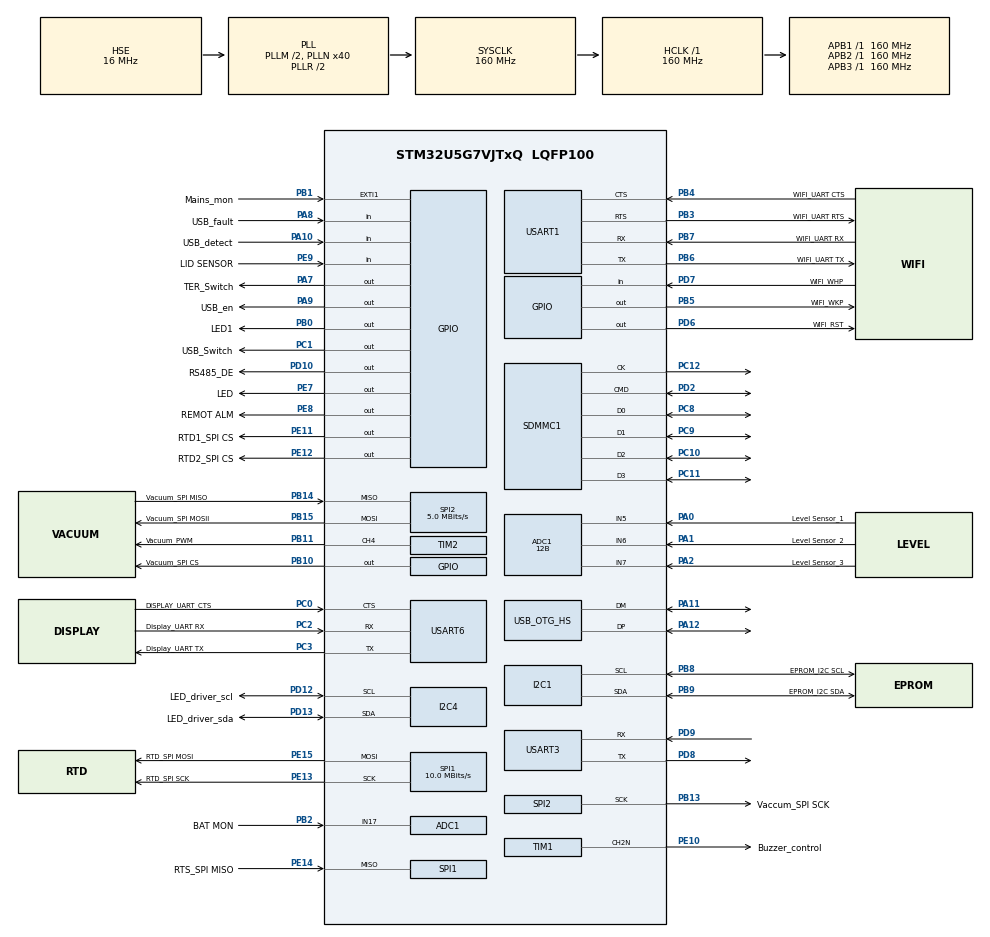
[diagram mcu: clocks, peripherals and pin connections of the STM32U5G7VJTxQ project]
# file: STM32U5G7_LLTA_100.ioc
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ADC1.Channel-0\#ChannelRegularConversion=ADC_CHANNEL_5
ADC1.Channel-1\#ChannelRegularConversion=ADC_CHANNEL_6
ADC1.Channel-2\#ChannelRegularConversion=ADC_CHANNEL_7
ADC1.Channel-3\#ChannelRegularConversion=ADC_CHANNEL_17
ADC1.Channel-4\#ChannelRegularConversion=ADC_CHANNEL_VREFINT
ADC1.ClockPrescaler=ADC_CLOCK_ASYNC_DIV4
ADC1.ContinuousConvMode=DISABLE
ADC1.DiscontinuousConvMode=ENABLE
ADC1.MonitoredBy-0\#ChannelRegularConversion=__NULL
ADC1.MonitoredBy-1\#ChannelRegularConversion=__NULL
ADC1.MonitoredBy-2\#ChannelRegularConversion=__NULL
ADC1.MonitoredBy-3\#ChannelRegularConversion=__NULL
ADC1.MonitoredBy-4\#ChannelRegularConversion=__NULL
ADC1.NbrOfConversion=5
ADC1.NbrOfConversionFlag=1
ADC1.OffsetNumber-0\#ChannelRegularConversion=ADC_OFFSET_NONE
ADC1.OffsetNumber-1\#ChannelRegularConversion=ADC_OFFSET_NONE
ADC1.OffsetNumber-2\#ChannelRegularConversion=ADC_OFFSET_NONE
ADC1.OffsetNumber-3\#ChannelRegularConversion=ADC_OFFSET_NONE
ADC1.OffsetNumber-4\#ChannelRegularConversion=ADC_OFFSET_NONE
ADC1.Rank-0\#ChannelRegularConversion=1
ADC1.Rank-1\#ChannelRegularConversion=2
ADC1.Rank-2\#ChannelRegularConversion=3
ADC1.Rank-3\#ChannelRegularConversion=4
ADC1.Rank-4\#ChannelRegularConversion=5
ADC1.Resolution=ADC_RESOLUTION_12B
ADC1.SamplingTime-0\#ChannelRegularConversion=ADC_SAMPLETIME_20CYCLES
ADC1.SamplingTime-1\#ChannelRegularConversion=ADC_SAMPLETIME_20CYCLES
ADC1.SamplingTime-2\#ChannelRegularConversion=ADC_SAMPLETIME_20CYCLES
ADC1.SamplingTime-3\#ChannelRegularConversion=ADC_SAMPLETIME_20CYCLES
ADC1.SamplingTime-4\#ChannelRegularConversion=ADC_SAMPLETIME_20CYCLES
ADC1.master=1
CORTEX_M33_NS.userName=CORTEX_M33
FILEX.FILEX_APPLICATION_THREAD_STACK_SIZE=1024*2
FILEX.FX_APP_MEM_POOL_SIZE=1024*4
FILEX.FX_MMC_INTERFACE=1
FILEX.useRTOS=1
GPDMA1.BLKHWREQUEST_GPDMACH0-SIMPLEREQUEST_GPDMACH0=DMA_BREQ_BLOCK
GPDMA1.CIRCULARMODE_GPDMACH0=ENABLE
GPDMA1.CIRCULARMODE_GPDMACH1=DISABLE
GPDMA1.CIRCULARMODE_GPDMACH2=ENABLE
GPDMA1.DESTINC_GPDMACH0=DMA_DINC_INCREMENTED
GPDMA1.DESTINC_GPDMACH2=DMA_DINC_INCREMENTED
GPDMA1.DIRECTION_GPDMACH1=DMA_MEMORY_TO_PERIPH
GPDMA1.DIRECTION_GPDMACH3=DMA_MEMORY_TO_PERIPH
GPDMA1.IPHANDLE_GPDMACH0-SIMPLEREQUEST_GPDMACH0=__NULL
GPDMA1.IPHANDLE_GPDMACH1-SIMPLEREQUEST_GPDMACH1=__NULL
GPDMA1.IPHANDLE_GPDMACH2-SIMPLEREQUEST_GPDMACH2=__NULL
GPDMA1.IPHANDLE_GPDMACH3-SIMPLEREQUEST_GPDMACH3=__NULL
GPDMA1.PRIORITY_LL_CIRCULAR_GPDMACH0=DMA_LOW_PRIORITY_HIGH_WEIGHT
GPDMA1.PRIORITY_LL_CIRCULAR_GPDMACH2=DMA_HIGH_PRIORITY
GPDMA1.REQUEST_GPDMACH0=GPDMA1_REQUEST_USART6_RX
GPDMA1.REQUEST_GPDMACH1=GPDMA1_REQUEST_USART6_TX
GPDMA1.REQUEST_GPDMACH2=GPDMA1_REQUEST_USART3_RX
GPDMA1.REQUEST_GPDMACH3=GPDMA1_REQUEST_USART3_TX
GPDMA1.SRCINC_GPDMACH1=DMA_SINC_INCREMENTED
GPDMA1.SRCINC_GPDMACH3=DMA_SINC_INCREMENTED
GPDMA1.TRANSFERALLOCATEDPORTDEST_GPDMACH0=DMA_DEST_ALLOCATED_PORT1
GPDMA1.TRANSFERALLOCATEDPORTSRC_GPDMACH1=DMA_SRC_ALLOCATED_PORT1
GPDMA1.TRANSFERALLOCATEDPORTSRC_GPDMACH3=DMA_SRC_ALLOCATED_PORT1
I2C1.I2C_Rise_Time=100
I2C1.Timing=0x30D09DE8
I2C4.I2C_Fall_Time=100
I2C4.I2C_Rise_Time=100
I2C4.Timing=0x30D29DE4
Mcu.Family=STM32U5
Mcu.Name=STM32U5G7VJTxQ
Mcu.Package=LQFP100
NVIC.ADC1_2_IRQn=true\:0\:0\:false\:false\:true\:false\:true\:true\:true
NVIC.EXTI1_IRQn=true\:0\:0\:false\:false\:true\:false\:true\:true\:true
NVIC.GPDMA1_Channel0_IRQn=true\:0\:0\:false\:false\:true\:true\:false\:true\:true
NVIC.GPDMA1_Channel1_IRQn=true\:0\:0\:false\:false\:true\:true\:true\:true\:true
NVIC.GPDMA1_Channel2_IRQn=true\:0\:0\:false\:false\:true\:true\:true\:true\:true
NVIC.GPDMA1_Channel3_IRQn=true\:0\:0\:false\:false\:true\:true\:false\:true\:true
NVIC.I2C1_ER_IRQn=true\:0\:0\:false\:false\:true\:false\:true\:true\:true
NVIC.I2C1_EV_IRQn=true\:0\:0\:false\:false\:true\:false\:true\:true\:true
NVIC.I2C4_ER_IRQn=true\:0\:0\:false\:false\:true\:false\:true\:true\:true
NVIC.I2C4_EV_IRQn=true\:0\:0\:false\:false\:true\:false\:true\:true\:true
NVIC.OTG_HS_IRQn=true\:0\:0\:false\:false\:true\:false\:true\:true\:true
NVIC.PriorityGroup=NVIC_PRIORITYGROUP_4
NVIC.RCC_IRQn=true\:0\:0\:false\:false\:true\:false\:true\:false\:true
NVIC.SDMMC1_IRQn=true\:0\:0\:false\:false\:true\:false\:true\:true\:true
NVIC.SPI1_IRQn=true\:0\:0\:false\:false\:true\:false\:true\:true\:true
NVIC.SPI2_IRQn=true\:0\:0\:false\:false\:true\:false\:true\:true\:true
NVIC.TIM1_BRK_IRQn=true\:0\:0\:false\:false\:true\:false\:true\:true\:true
NVIC.TIM1_CC_IRQn=true\:0\:0\:false\:false\:true\:false\:true\:true\:true
NVIC.TIM1_TRG_COM_IRQn=true\:0\:0\:false\:false\:true\:false\:true\:true\:true
NVIC.TIM2_IRQn=true\:0\:0\:false\:false\:true\:false\:true\:true\:true
NVIC.TIM5_IRQn=true\:15\:0\:false\:false\:true\:false\:false\:true\:true
NVIC.TIM6_IRQn=true\:0\:0\:false\:false\:true\:false\:true\:true\:true
NVIC.TIM7_IRQn=true\:0\:0\:false\:false\:true\:false\:true\:true\:true
NVIC.TimeBase=TIM5_IRQn
NVIC.TimeBaseIP=TIM5
NVIC.USART1_IRQn=true\:0\:0\:false\:false\:true\:false\:true\:true\:true
NVIC.USART3_IRQn=true\:0\:0\:false\:false\:true\:false\:true\:true\:true
NVIC.USART6_IRQn=true\:0\:0\:false\:false\:true\:false\:true\:true\:true
PA0.GPIO_Label=Level Sensor_1
PA0.Mode=IN5-Single-Ended
PA0.Signal=ADC1_IN5
PA1.GPIO_Label=Level Sensor_2
PA1.Mode=IN6-Single-Ended
PA1.Signal=ADC1_IN6
PA10.GPIO_Label=USB_detect
PA10.PinAttribute=Free
PA10.Signal=GPIO_Input
PA11.Mode=Internal_Phy_Device
PA11.PinAttribute=Free
PA11.Signal=USB_OTG_HS_DM
PA12.Mode=Internal_Phy_Device
PA12.PinAttribute=Free
PA12.Signal=USB_OTG_HS_DP
PA13\ (JTMS/SWDIO).Mode=Serial_Wire
PA13\ (JTMS/SWDIO).PinAttribute=Free
PA13\ (JTMS/SWDIO).Signal=DEBUG_JTMS-SWDIO
PA14\ (JTCK/SWCLK).Mode=Serial_Wire
PA14\ (JTCK/SWCLK).PinAttribute=Free
PA14\ (JTCK/SWCLK).Signal=DEBUG_JTCK-SWCLK
PA2.GPIO_Label=Level Sensor_3
PA2.Mode=IN7-Single-Ended
PA2.Signal=ADC1_IN7
PA7.GPIO_Label=TER_Switch
PA7.GPIO_PuPd=GPIO_PULLUP
PA7.GPIO_Speed=GPIO_SPEED_FREQ_VERY_HIGH
PA7.PinState=GPIO_PIN_SET
PA7.Signal=GPIO_Output
PA8.GPIO_Label=USB_fault
PA8.PinAttribute=Free
PA8.Signal=GPIO_Input
PA9.GPIO_Label=USB_en
PA9.GPIO_PuPd=GPIO_PULLDOWN
PA9.PinAttribute=Free
PA9.Signal=GPIO_Output
PB0.GPIO_Label=LED1
PB0.GPIO_PuPd=GPIO_PULLDOWN
PB0.Signal=GPIO_Output
PB1.GPIO_Label=Mains_mon
PB1.GPIO_ModeDefaultEXTI=GPIO_MODE_IT_RISING_FALLING
PB1.GPIO_PuPd=GPIO_PULLDOWN
PB1.Privilege=EXTI_LINE_NPRIV
PB1.Signal=GPXTI1
PB10.GPIO_Label=Vacuum_SPI CS
PB10.GPIO_PuPd=GPIO_PULLUP
PB10.GPIO_Speed=GPIO_SPEED_FREQ_HIGH
PB10.Signal=GPIO_Output
PB11.GPIO_Label=Vacuum_PWM
PB11.Signal=S_TIM2_CH4
PB13.GPIO_Label=Vaccum_SPI SCK
PB13.Mode=Full_Duplex_Master
PB13.Signal=SPI2_SCK
PB14.GPIO_Label=Vacuum_SPI MISO
PB14.Mode=Full_Duplex_Master
PB14.Signal=SPI2_MISO
PB15.GPIO_Label=Vacuum_SPI MOSII
PB15.Mode=Full_Duplex_Master
PB15.PinAttribute=Free
PB15.Signal=SPI2_MOSI
PB2.GPIO_Label=BAT MON
PB2.Mode=IN17-Single-Ended
PB2.Signal=ADC1_IN17
PB3\ (JTDO/TRACESWO).GPIO_Label=WIFI_UART RTS
PB3\ (JTDO/TRACESWO).Mode=CTS_RTS
PB3\ (JTDO/TRACESWO).PinAttribute=Free
PB3\ (JTDO/TRACESWO).Signal=USART1_RTS
PB4\ (NJTRST).GPIO_Label=WIFI_UART CTS
PB4\ (NJTRST).Mode=CTS_RTS
PB4\ (NJTRST).Signal=USART1_CTS
PB5.GPIO_Label=WIFI_WKP
PB5.Signal=GPIO_Output
PB6.GPIO_Label=WIFI_UART TX
PB6.Mode=Asynchronous
PB6.Signal=USART1_TX
PB7.GPIO_Label=WIFI_UART RX
PB7.Mode=Asynchronous
PB7.Signal=USART1_RX
PB8.GPIO_Label=EPROM_I2C SCL
PB8.GPIO_Pu=GPIO_PULLUP
PB8.GPIO_Speed=GPIO_SPEED_FREQ_VERY_HIGH
PB8.Mode=I2C
PB8.Signal=I2C1_SCL
PB9.GPIO_Label=EPROM_I2C SDA
PB9.GPIO_Pu=GPIO_PULLUP
PB9.GPIO_Speed=GPIO_SPEED_FREQ_VERY_HIGH
PB9.Mode=I2C
PB9.Signal=I2C1_SDA
PC0.GPIO_Label=DISPLAY_UART_CTS
PC0.Mode=CTS_Only
PC0.Signal=USART6_CTS
PC1.GPIO_Label=USB_Switch
PC1.GPIO_PuPd=GPIO_PULLDOWN
PC1.Signal=GPIO_Output
PC10.Mode=mmc_4_bits_Wide_bus
PC10.PinAttribute=Free
PC10.Signal=SDMMC1_D2
PC11.Mode=mmc_4_bits_Wide_bus
PC11.PinAttribute=Free
PC11.Signal=SDMMC1_D3
PC12.Mode=mmc_4_bits_Wide_bus
PC12.PinAttribute=Free
PC12.Signal=SDMMC1_CK
PC14-OSC32_IN\ (PC14).Mode=LSE-External-Oscillator
PC14-OSC32_IN\ (PC14).Signal=RCC_OSC32_IN
PC15-OSC32_OUT\ (PC15).Mode=LSE-External-Oscillator
PC15-OSC32_OUT\ (PC15).Signal=RCC_OSC32_OUT
PC2.GPIO_Label=Display_UART RX
PC2.Mode=Asynchronous
PC2.Signal=USART6_RX
PC3.GPIO_Label=Display_UART TX
PC3.Mode=Asynchronous
PC3.Signal=USART6_TX
PC8.Mode=mmc_4_bits_Wide_bus
PC8.Signal=SDMMC1_D0
PC9.Mode=mmc_4_bits_Wide_bus
PC9.PinAttribute=Free
PC9.Signal=SDMMC1_D1
PD10.GPIO_Label=RS485_DE
PD10.PinAttribute=Free
PD10.Signal=GPIO_Output
PD12.GPIO_Label=LED_driver_scl
PD12.GPIO_Pu=GPIO_PULLUP
PD12.GPIO_Speed=GPIO_SPEED_FREQ_VERY_HIGH
PD12.Mode=I2C
PD12.PinAttribute=Free
PD12.Signal=I2C4_SCL
PD13.GPIO_Label=LED_driver_sda
PD13.GPIO_Pu=GPIO_PULLUP
PD13.GPIO_Speed=GPIO_SPEED_FREQ_VERY_HIGH
PD13.Mode=I2C
PD13.Signal=I2C4_SDA
PD2.Mode=mmc_4_bits_Wide_bus
PD2.PinAttribute=Free
PD2.Signal=SDMMC1_CMD
PD6.GPIO_Label=WIFI_RST
PD6.PinAttribute=Free
PD6.Signal=GPIO_Output
PD7.GPIO_Label=WIFI_WHP
PD7.PinAttribute=Free
PD7.Signal=GPIO_Input
PD8.Mode=Asynchronous
PD8.PinAttribute=Free
PD8.Signal=USART3_TX
PD9.Mode=Asynchronous
PD9.PinAttribute=Free
PD9.Signal=USART3_RX
PE10.GPIO_Label=Buzzer_control
PE10.Mode=PWM Generation2 CH2N
PE10.Signal=TIM1_CH2N
PE11.GPIO_Label=RTD1_SPI CS 
PE11.GPIO_PuPd=GPIO_PULLUP
PE11.GPIO_Speed=GPIO_SPEED_FREQ_HIGH
PE11.PinState=GPIO_PIN_SET
PE11.Signal=GPIO_Output
PE12.GPIO_Label=RTD2_SPI CS
PE12.GPIO_PuPd=GPIO_PULLUP
PE12.GPIO_Speed=GPIO_SPEED_FREQ_HIGH
PE12.PinState=GPIO_PIN_SET
PE12.Signal=GPIO_Output
PE13.GPIO_Label=RTD_SPI SCK
PE13.Mode=Full_Duplex_Master
PE13.Signal=SPI1_SCK
PE14.GPIO_Label=RTS_SPI MISO
PE14.Mode=Full_Duplex_Master
PE14.Signal=SPI1_MISO
PE15.GPIO_Label=RTD_SPI MOSI
PE15.Mode=Full_Duplex_Master
PE15.Signal=SPI1_MOSI
PE7.GPIO_Label=LED
PE7.GPIO_ModeDefaultOutputPP=GPIO_MODE_OUTPUT_PP
PE7.GPIO_PuPd=GPIO_PULLDOWN
PE7.Signal=GPIO_Output
PE8.GPIO_Label=REMOT ALM
PE8.GPIO_PuPd=GPIO_PULLUP
PE8.GPIO_Speed=GPIO_SPEED_FREQ_VERY_HIGH
PE8.PinState=GPIO_PIN_SET
PE8.Signal=GPIO_Output
PE9.GPIO_Label=LID SENSOR
PE9.Signal=GPIO_Input
PH0-OSC_IN\ (PH0).Mode=HSE-External-Oscillator
PH0-OSC_IN\ (PH0).Signal=RCC_OSC_IN
PH1-OSC_OUT\ (PH1).Mode=HSE-External-Oscillator
PH1-OSC_OUT\ (PH1).Signal=RCC_OSC_OUT
ProjectManager.HeapSize=0x200
ProjectManager.StackSize=0x400
ProjectManager.TargetToolchain=STM32CubeIDE
RCC.ADCCLockSelection=RCC_ADCDACCLKSOURCE_HCLK
RCC.ADCFreq_Value=160000000
RCC.AHBFreq_Value=160000000
RCC.APB1Freq_Value=160000000
RCC.APB1TimFreq_Value=160000000
RCC.APB2Freq_Value=160000000
RCC.APB2TimFreq_Value=160000000
RCC.APB3Freq_Value=160000000
RCC.CortexFreq_Value=160000000
RCC.EPOD_VALUE=16000000
RCC.HCLKFreq_Value=160000000
RCC.HSE_VALUE=16000000
RCC.HSI48_VALUE=48000000
RCC.HSI_VALUE=16000000
RCC.LSIDIV_VALUE=32000
RCC.MSI_VALUE=4000000
RCC.PLL1P=5
RCC.PLL2FRACN=0
RCC.PLL3FRACN=0
RCC.PLLFRACN=0
RCC.PLLM=2
RCC.PLLN=40
RCC.PLLSourceVirtual=RCC_PLLSOURCE_HSE
RCC.RTCClockSelection=RCC_RTCCLKSOURCE_LSE
RCC.SYSCLKFreq_VALUE=160000000
RCC.SYSCLKSource=RCC_SYSCLKSOURCE_PLLCLK
RCC.USBPHYCLockSelection=RCC_USBPHYCLKSOURCE_PLL1_DIV2
RCC.VCOOutputFreq_Value=320000000
RTC.BinMode=RTC_BINARY_NONE
RTC.HourFormat=RTC_HOURFORMAT_12
SDMMC1.ClockDiv=2
SDMMC1.ClockPowerSave=SDMMC_CLOCK_POWER_SAVE_ENABLE
SDMMC1.HardwareFlowControl=SDMMC_HARDWARE_FLOW_CONTROL_ENABLE
SH.S_TIM2_CH4.0=TIM2_CH4,PWM Generation4 CH4
SPI1.BaudRatePrescaler=SPI_BAUDRATEPRESCALER_16
SPI1.CLKPhase=SPI_PHASE_2EDGE
SPI1.CalculateBaudRate=10.0 MBits/s
SPI1.DataSize=SPI_DATASIZE_8BIT
SPI1.Direction=SPI_DIRECTION_2LINES
SPI1.Mode=SPI_MODE_MASTER
SPI1.VirtualType=VM_MASTER
SPI2.BaudRatePrescaler=SPI_BAUDRATEPRESCALER_32
SPI2.CalculateBaudRate=5.0 MBits/s
SPI2.DataSize=SPI_DATASIZE_8BIT
SPI2.Direction=SPI_DIRECTION_2LINES
SPI2.Mode=SPI_MODE_MASTER
SPI2.VirtualType=VM_MASTER
THREADX.AZRTOS_APP_MEM_ALLOCATION_METHOD=1
TIM1.Channel-PWM\ Generation2\ CH2N=TIM_CHANNEL_2
TIM1.PeriodNoDither=3702-1
TIM1.Prescaler=15
TIM1.PulseNoDither_2=1851
TIM2.Channel-PWM\ Generation4\ CH4=TIM_CHANNEL_4
TIM2.PeriodNoDither=1000-1
TIM2.Prescaler=159
TIM6.PeriodNoDither=9999
TIM6.Prescaler=16
TIM7.PeriodNoDither=9999
TIM7.Prescaler=16000
USART1.FIFOMode=FIFOMODE_ENABLE
USART1.VirtualMode-Asynchronous=VM_ASYNC
USART3.FIFOMode=FIFOMODE_ENABLE
USART3.VirtualMode-Asynchronous=VM_ASYNC
USART6.FIFOMode=FIFOMODE_ENABLE
USART6.VirtualMode-Asynchronous=VM_ASYNC
USBX.BSP.number=1
USBX.Core_System=1
USBX.USBD_CDCACM_EPINCMD_ADDR=3
USBX.USBD_CDCACM_EPIN_ADDR=4
USBX.USBD_CDCACM_EPOUT_ADDR=5
USBX.UX_DEVICE_CDC_ACM=1
USBX.UX_DEVICE_STORAGE=1
USBX.UX_Device_Controller=1
USBX.UX_Device_CoreStack=1
USBX0.BSP.STBoard=false
USBX0.BSP.api=Unknown
USBX0.BSP.instance=USB_OTG_HS
USBX0.BSP.ip=USB_OTG_HS
USBX0.BSP.mode=Device_Only
USBX0.BSP.name=USBDevice
USBX0.BSP.solution=USB_OTG_HS
USB_OTG_HS.RefClockSelection=SYSCFG_OTG_HS_PHY_CLK_SELECT_6
USB_OTG_HS.VirtualMode=Device_HS
VP_ADC1_Vref_Input.Mode=IN-Vrefint
VP_FILEX_VS_FileOoSystemJjFileXJjCore.Mode=FileX_Core
VP_FILEX_VS_MMCOointerface.Mode=MMC_interface
VP_GPDMA1_VS_GPDMACH0.Mode=SIMPLEREQUEST_GPDMACH0
VP_GPDMA1_VS_GPDMACH1.Mode=SIMPLEREQUEST_GPDMACH1
VP_GPDMA1_VS_GPDMACH2.Mode=SIMPLEREQUEST_GPDMACH2
VP_GPDMA1_VS_GPDMACH3.Mode=SIMPLEREQUEST_GPDMACH3
VP_ICACHE_VS_ENABLE_ICACHE_MEMORY.Mode=Memoryregions
VP_ICACHE_VS_ICACHE.Mode=DefaultMode
VP_LPBAMQUEUE_VS_QUEUE.Mode=QUEUEMODE
VP_LPBAM_VS_SIG1.Mode=SmartRun
VP_LPBAM_VS_SIG4.Mode=LPDMA1
VP_MEMORYMAP_VS_MEMORYMAP.Mode=CurAppReg
VP_PWR_VS_SECSignals.Mode=Security/Privilege
VP_PWR_Vdda.Mode=isolationVdda
VP_RTC_VS_RTC_Activate.Mode=RTC_Enabled
VP_RTC_VS_RTC_Calendar.Mode=RTC_Calendar
VP_SYS_VS_tim5.Mode=TIM5
VP_THREADX_VS_RTOSJjThreadXJjCoreJjDefault.Mode=Core_Default
VP_THREADX_VS_RTOSJjThreadXJjLow_Power_Support.Mode=Low_Power_Support
VP_THREADX_VS_RTOSJjThreadXJjPerformance_InfoJjDefault.Mode=Performance_Default
VP_THREADX_VS_RTOSJjThreadXJjTraceX_SupportJjDefault.Mode=TraceX_Support_Default
VP_TIM6_VS_ClockSourceINT.Mode=Enable_Timer
VP_TIM7_VS_ClockSourceINT.Mode=Enable_Timer
VP_USBX_Core_System.Mode=Core_System
VP_USBX_UX\ Device\ CDC\ ACM\ Class_HS.Mode=UX_Device_class_CDC_ACM_HS
VP_USBX_UX\ Device\ Controller_HS.Mode=UX_Device_Controller_HS
VP_USBX_UX\ Device\ CoreStack_HS.Mode=UX_Device_CoreStack_HS
VP_USBX_UX\ Device\ MSC_HS.Mode=UX_Device_class_MSC_HS
board=custom

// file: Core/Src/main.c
/* USER CODE BEGIN Header */
/**
  ******************************************************************************
  * @file           : main.c
  * @brief          : Main program body
  ******************************************************************************
  * @attention
  *
  * Copyright (c) 2025 STMicroelectronics.
  * All rights reserved.
  *
  * This software is licensed under terms that can be found in the LICENSE file
  * in the root directory of this software component.
  * If no LICENSE file comes with this software, it is provided AS-IS.
  *
  ******************************************************************************
  */
/* USER CODE END Header */
#include "app_threadx.h"
#include "main.h"

/* USER CODE BEGIN Includes */
#include "MyMain.h"
/* USER CODE END Includes */

ADC_HandleTypeDef hadc1;

I2C_HandleTypeDef hi2c1;
I2C_HandleTypeDef hi2c4;

RTC_HandleTypeDef hrtc;

MMC_HandleTypeDef hmmc1;

SPI_HandleTypeDef hspi1;
SPI_HandleTypeDef hspi2;

TIM_HandleTypeDef htim1;
TIM_HandleTypeDef htim2;
TIM_HandleTypeDef htim6;
TIM_HandleTypeDef htim7;

UART_HandleTypeDef huart1;
UART_HandleTypeDef huart3;
UART_HandleTypeDef huart6;
DMA_HandleTypeDef handle_GPDMA1_Channel3;
DMA_NodeTypeDef Node_GPDMA1_Channel2;
DMA_QListTypeDef List_GPDMA1_Channel2;
DMA_HandleTypeDef handle_GPDMA1_Channel2;
DMA_HandleTypeDef handle_GPDMA1_Channel1;
DMA_NodeTypeDef Node_GPDMA1_Channel0;
DMA_QListTypeDef List_GPDMA1_Channel0;
DMA_HandleTypeDef handle_GPDMA1_Channel0;

PCD_HandleTypeDef hpcd_USB_OTG_HS;

/* USER CODE BEGIN PV */
HCD_HandleTypeDef hhcd_USB_OTG_HS;
HAL_MMC_CardInfoTypeDef card_info;
/* USER CODE END PV */

void SystemClock_Config(void);
static void MX_GPIO_Init(void);
static void MX_GPDMA1_Init(void);
static void MX_ADC1_Init(void);
static void MX_I2C1_Init(void);
static void MX_SDMMC1_MMC_Init(void);
static void MX_SPI1_Init(void);
static void MX_SPI2_Init(void);
static void MX_USART1_UART_Init(void);
static void MX_USART3_UART_Init(void);
static void MX_USART6_UART_Init(void);
void MX_USB_OTG_HS_PCD_Init(void);
static void MX_TIM2_Init(void);
static void MX_RTC_Init(void);
static void MX_ICACHE_Init(void);
static void MX_I2C4_Init(void);
static void MX_TIM1_Init(void);
static void MX_TIM7_Init(void);
static void MX_TIM6_Init(void);
/* USER CODE BEGIN PFP */
void MX_USB_OTG_HS_HCD_Init(void);
/* USER CODE END PFP */

int main(void)
{

  /* MCU Configuration--------------------------------------------------------*/

  /* Reset of all peripherals, Initializes the Flash interface and the Systick. */
  HAL_Init();

  /* Configure the system clock */
  SystemClock_Config();

  /* Initialize all configured peripherals */
  MX_GPIO_Init();
  MX_GPDMA1_Init();
  MX_ADC1_Init();
  MX_I2C1_Init();
#ifdef EN_EMMC
  MX_SDMMC1_MMC_Init();
#endif
  MX_SPI1_Init();
  MX_SPI2_Init();
  MX_USART1_UART_Init();
  MX_USART3_UART_Init();
  MX_USART6_UART_Init();
#ifdef EN_EMMC
  MX_USB_OTG_HS_PCD_Init();
  MX_USB_OTG_HS_HCD_Init();
#endif
  MX_TIM2_Init();
  MX_RTC_Init();
  MX_ICACHE_Init();
  MX_I2C4_Init();
  MX_TIM1_Init();
  MX_TIM7_Init();
  MX_TIM6_Init();
  /* USER CODE BEGIN 2 */
  uint8_t status;
  status = HAL_MMC_GetCardInfo(&hmmc1, &card_info);

      if (status != HAL_OK)
      {
        Error_Handler();
      }
      my_init();
  /* USER CODE END 2 */

  MX_ThreadX_Init();

  /* We should never get here as control is now taken by the scheduler */

  /* Infinite loop */
  while (1)
  {

  }
}

void SystemClock_Config(void)
{
  RCC_OscInitTypeDef RCC_OscInitStruct = {0};
  RCC_ClkInitTypeDef RCC_ClkInitStruct = {0};

  /** Configure the main internal regulator output voltage
  */
  if (HAL_PWREx_ControlVoltageScaling(PWR_REGULATOR_VOLTAGE_SCALE1) != HAL_OK)
  {
    Error_Handler();
  }

  /** Configure LSE Drive Capability
  */
  HAL_PWR_EnableBkUpAccess();
  __HAL_RCC_LSEDRIVE_CONFIG(RCC_LSEDRIVE_LOW);

  /** Initializes the CPU, AHB and APB buses clocks
  */
  RCC_OscInitStruct.OscillatorType = RCC_OSCILLATORTYPE_HSE|RCC_OSCILLATORTYPE_LSE;
  RCC_OscInitStruct.HSEState = RCC_HSE_ON;
  RCC_OscInitStruct.LSEState = RCC_LSE_ON;
  RCC_OscInitStruct.PLL.PLLState = RCC_PLL_ON;
  RCC_OscInitStruct.PLL.PLLSource = RCC_PLLSOURCE_HSE;
  RCC_OscInitStruct.PLL.PLLMBOOST = RCC_PLLMBOOST_DIV1;
  RCC_OscInitStruct.PLL.PLLM = 2;
  RCC_OscInitStruct.PLL.PLLN = 40;
  RCC_OscInitStruct.PLL.PLLP = 5;
  RCC_OscInitStruct.PLL.PLLQ = 2;
  RCC_OscInitStruct.PLL.PLLR = 2;
  RCC_OscInitStruct.PLL.PLLRGE = RCC_PLLVCIRANGE_1;
  RCC_OscInitStruct.PLL.PLLFRACN = 0;
  if (HAL_RCC_OscConfig(&RCC_OscInitStruct) != HAL_OK)
  {
    Error_Handler();
  }

  /** Initializes the CPU, AHB and APB buses clocks
  */
  RCC_ClkInitStruct.ClockType = RCC_CLOCKTYPE_HCLK|RCC_CLOCKTYPE_SYSCLK
                              |RCC_CLOCKTYPE_PCLK1|RCC_CLOCKTYPE_PCLK2
                              |RCC_CLOCKTYPE_PCLK3;
  RCC_ClkInitStruct.SYSCLKSource = RCC_SYSCLKSOURCE_PLLCLK;
  RCC_ClkInitStruct.AHBCLKDivider = RCC_SYSCLK_DIV1;
  RCC_ClkInitStruct.APB1CLKDivider = RCC_HCLK_DIV1;
  RCC_ClkInitStruct.APB2CLKDivider = RCC_HCLK_DIV1;
  RCC_ClkInitStruct.APB3CLKDivider = RCC_HCLK_DIV1;

  if (HAL_RCC_ClockConfig(&RCC_ClkInitStruct, FLASH_LATENCY_4) != HAL_OK)
  {
    Error_Handler();
  }
}

static void MX_ADC1_Init(void)
{

  ADC_ChannelConfTypeDef sConfig = {0};

  /** Common config
  */
  hadc1.Instance = ADC1;
  hadc1.Init.ClockPrescaler = ADC_CLOCK_ASYNC_DIV4;
  hadc1.Init.Resolution = ADC_RESOLUTION_12B;
  hadc1.Init.GainCompensation = 0;
  hadc1.Init.DataAlign = ADC_DATAALIGN_RIGHT;
  hadc1.Init.ScanConvMode = ADC_SCAN_ENABLE;
  hadc1.Init.EOCSelection = ADC_EOC_SINGLE_CONV;
  hadc1.Init.LowPowerAutoWait = DISABLE;
  hadc1.Init.ContinuousConvMode = DISABLE;
  hadc1.Init.NbrOfConversion = 5;
  hadc1.Init.DiscontinuousConvMode = ENABLE;
  hadc1.Init.NbrOfDiscConversion = 1;
  hadc1.Init.ExternalTrigConv = ADC_SOFTWARE_START;
  hadc1.Init.ExternalTrigConvEdge = ADC_EXTERNALTRIGCONVEDGE_NONE;
  hadc1.Init.DMAContinuousRequests = DISABLE;
  hadc1.Init.TriggerFrequencyMode = ADC_TRIGGER_FREQ_HIGH;
  hadc1.Init.Overrun = ADC_OVR_DATA_PRESERVED;
  hadc1.Init.LeftBitShift = ADC_LEFTBITSHIFT_NONE;
  hadc1.Init.ConversionDataManagement = ADC_CONVERSIONDATA_DR;
  hadc1.Init.OversamplingMode = DISABLE;
  if (HAL_ADC_Init(&hadc1) != HAL_OK)
  {
    Error_Handler();
  }

  /** Configure Regular Channel
  */
  sConfig.Channel = ADC_CHANNEL_5;
  sConfig.Rank = ADC_REGULAR_RANK_1;
  sConfig.SamplingTime = ADC_SAMPLETIME_20CYCLES;
  sConfig.SingleDiff = ADC_SINGLE_ENDED;
  sConfig.OffsetNumber = ADC_OFFSET_NONE;
  sConfig.Offset = 0;
  if (HAL_ADC_ConfigChannel(&hadc1, &sConfig) != HAL_OK)
  {
    Error_Handler();
  }

  /** Configure Regular Channel
  */
  sConfig.Channel = ADC_CHANNEL_6;
  sConfig.Rank = ADC_REGULAR_RANK_2;
  if (HAL_ADC_ConfigChannel(&hadc1, &sConfig) != HAL_OK)
  {
    Error_Handler();
  }

  /** Configure Regular Channel
  */
  sConfig.Channel = ADC_CHANNEL_7;
  sConfig.Rank = ADC_REGULAR_RANK_3;
  if (HAL_ADC_ConfigChannel(&hadc1, &sConfig) != HAL_OK)
  {
    Error_Handler();
  }

  /** Configure Regular Channel
  */
  sConfig.Channel = ADC_CHANNEL_17;
  sConfig.Rank = ADC_REGULAR_RANK_4;
  if (HAL_ADC_ConfigChannel(&hadc1, &sConfig) != HAL_OK)
  {
    Error_Handler();
  }

  /** Configure Regular Channel
  */
  sConfig.Channel = ADC_CHANNEL_VREFINT;
  sConfig.Rank = ADC_REGULAR_RANK_5;
  if (HAL_ADC_ConfigChannel(&hadc1, &sConfig) != HAL_OK)
  {
    Error_Handler();
  }

}

static void MX_GPDMA1_Init(void)
{

  /* Peripheral clock enable */
  __HAL_RCC_GPDMA1_CLK_ENABLE();

  /* GPDMA1 interrupt Init */
    HAL_NVIC_SetPriority(GPDMA1_Channel0_IRQn, 0, 0);
    HAL_NVIC_EnableIRQ(GPDMA1_Channel0_IRQn);
    HAL_NVIC_SetPriority(GPDMA1_Channel1_IRQn, 0, 0);
    HAL_NVIC_EnableIRQ(GPDMA1_Channel1_IRQn);
    HAL_NVIC_SetPriority(GPDMA1_Channel2_IRQn, 0, 0);
    HAL_NVIC_EnableIRQ(GPDMA1_Channel2_IRQn);
    HAL_NVIC_SetPriority(GPDMA1_Channel3_IRQn, 0, 0);
    HAL_NVIC_EnableIRQ(GPDMA1_Channel3_IRQn);

}

static void MX_I2C1_Init(void)
{

  hi2c1.Instance = I2C1;
  hi2c1.Init.Timing = 0x30D09DE8;
  hi2c1.Init.OwnAddress1 = 0;
  hi2c1.Init.AddressingMode = I2C_ADDRESSINGMODE_7BIT;
  hi2c1.Init.DualAddressMode = I2C_DUALADDRESS_DISABLE;
  hi2c1.Init.OwnAddress2 = 0;
  hi2c1.Init.OwnAddress2Masks = I2C_OA2_NOMASK;
  hi2c1.Init.GeneralCallMode = I2C_GENERALCALL_DISABLE;
  hi2c1.Init.NoStretchMode = I2C_NOSTRETCH_DISABLE;
  if (HAL_I2C_Init(&hi2c1) != HAL_OK)
  {
    Error_Handler();
  }

  /** Configure Analogue filter
  */
  if (HAL_I2CEx_ConfigAnalogFilter(&hi2c1, I2C_ANALOGFILTER_ENABLE) != HAL_OK)
  {
    Error_Handler();
  }

  /** Configure Digital filter
  */
  if (HAL_I2CEx_ConfigDigitalFilter(&hi2c1, 0) != HAL_OK)
  {
    Error_Handler();
  }

}

static void MX_I2C4_Init(void)
{

  hi2c4.Instance = I2C4;
  hi2c4.Init.Timing = 0x30D29DE4;
  hi2c4.Init.OwnAddress1 = 0;
  hi2c4.Init.AddressingMode = I2C_ADDRESSINGMODE_7BIT;
  hi2c4.Init.DualAddressMode = I2C_DUALADDRESS_DISABLE;
  hi2c4.Init.OwnAddress2 = 0;
  hi2c4.Init.OwnAddress2Masks = I2C_OA2_NOMASK;
  hi2c4.Init.GeneralCallMode = I2C_GENERALCALL_DISABLE;
  hi2c4.Init.NoStretchMode = I2C_NOSTRETCH_DISABLE;
  if (HAL_I2C_Init(&hi2c4) != HAL_OK)
  {
    Error_Handler();
  }

  /** Configure Analogue filter
  */
  if (HAL_I2CEx_ConfigAnalogFilter(&hi2c4, I2C_ANALOGFILTER_ENABLE) != HAL_OK)
  {
    Error_Handler();
  }

  /** Configure Digital filter
  */
  if (HAL_I2CEx_ConfigDigitalFilter(&hi2c4, 0) != HAL_OK)
  {
    Error_Handler();
  }

}

static void MX_ICACHE_Init(void)
{

  /** Enable instruction cache (default 2-ways set associative cache)
  */
  if (HAL_ICACHE_Enable() != HAL_OK)
  {
    Error_Handler();
  }

}

static void MX_RTC_Init(void)
{

  RTC_PrivilegeStateTypeDef privilegeState = {0};
  RTC_TimeTypeDef sTime = {0};
  RTC_DateTypeDef sDate = {0};

  /** Initialize RTC Only
  */
  hrtc.Instance = RTC;
  hrtc.Init.HourFormat = RTC_HOURFORMAT_12;
  hrtc.Init.AsynchPrediv = 127;
  hrtc.Init.SynchPrediv = 255;
  hrtc.Init.OutPut = RTC_OUTPUT_DISABLE;
  hrtc.Init.OutPutRemap = RTC_OUTPUT_REMAP_NONE;
  hrtc.Init.OutPutPolarity = RTC_OUTPUT_POLARITY_HIGH;
  hrtc.Init.OutPutType = RTC_OUTPUT_TYPE_OPENDRAIN;
  hrtc.Init.OutPutPullUp = RTC_OUTPUT_PULLUP_NONE;
  hrtc.Init.BinMode = RTC_BINARY_NONE;
  if (HAL_RTC_Init(&hrtc) != HAL_OK)
  {
    Error_Handler();
  }
  privilegeState.rtcPrivilegeFull = RTC_PRIVILEGE_FULL_NO;
  privilegeState.backupRegisterPrivZone = RTC_PRIVILEGE_BKUP_ZONE_NONE;
  privilegeState.backupRegisterStartZone2 = RTC_BKP_DR0;
  privilegeState.backupRegisterStartZone3 = RTC_BKP_DR0;
  if (HAL_RTCEx_PrivilegeModeSet(&hrtc, &privilegeState) != HAL_OK)
  {
    Error_Handler();
  }

  /** Initialize RTC and set the Time and Date
  */
//  sTime.Hours = 0x1;
//  sTime.Minutes = 0x0;
//  sTime.Seconds = 0x0;
//  sTime.TimeFormat = RTC_HOURFORMAT12_AM;
//  sTime.DayLightSaving = RTC_DAYLIGHTSAVING_NONE;
//  sTime.StoreOperation = RTC_STOREOPERATION_RESET;
//  if (HAL_RTC_SetTime(&hrtc, &sTime, RTC_FORMAT_BCD) != HAL_OK)
//  {
//    Error_Handler();
//  }
//  sDate.WeekDay = RTC_WEEKDAY_MONDAY;
//  sDate.Month = RTC_MONTH_JANUARY;
//  sDate.Date = 0x1;
//  sDate.Year = 0x0;
//
//  if (HAL_RTC_SetDate(&hrtc, &sDate, RTC_FORMAT_BCD) != HAL_OK)
//  {
//    Error_Handler();
//  }

}

static void MX_SDMMC1_MMC_Init(void)
{

  hmmc1.Instance = SDMMC1;
  hmmc1.Init.ClockEdge = SDMMC_CLOCK_EDGE_RISING;
  hmmc1.Init.ClockPowerSave = SDMMC_CLOCK_POWER_SAVE_ENABLE;
  hmmc1.Init.BusWide = SDMMC_BUS_WIDE_4B;
  hmmc1.Init.HardwareFlowControl = SDMMC_HARDWARE_FLOW_CONTROL_ENABLE;
  hmmc1.Init.ClockDiv = 2;
  if (HAL_MMC_Init(&hmmc1) != HAL_OK)
  {
    Error_Handler();
  }

}

static void MX_SPI1_Init(void)
{

  SPI_AutonomousModeConfTypeDef HAL_SPI_AutonomousMode_Cfg_Struct = {0};

  /* SPI1 parameter configuration*/
  hspi1.Instance = SPI1;
  hspi1.Init.Mode = SPI_MODE_MASTER;
  hspi1.Init.Direction = SPI_DIRECTION_2LINES;
  hspi1.Init.DataSize = SPI_DATASIZE_8BIT;
  hspi1.Init.CLKPolarity = SPI_POLARITY_LOW;
  hspi1.Init.CLKPhase = SPI_PHASE_2EDGE;
  hspi1.Init.NSS = SPI_NSS_SOFT;
  hspi1.Init.BaudRatePrescaler = SPI_BAUDRATEPRESCALER_16;
  hspi1.Init.FirstBit = SPI_FIRSTBIT_MSB;
  hspi1.Init.TIMode = SPI_TIMODE_DISABLE;
  hspi1.Init.CRCCalculation = SPI_CRCCALCULATION_DISABLE;
  hspi1.Init.CRCPolynomial = 0x7;
  hspi1.Init.NSSPMode = SPI_NSS_PULSE_ENABLE;
  hspi1.Init.NSSPolarity = SPI_NSS_POLARITY_LOW;
  hspi1.Init.FifoThreshold = SPI_FIFO_THRESHOLD_01DATA;
  hspi1.Init.MasterSSIdleness = SPI_MASTER_SS_IDLENESS_00CYCLE;
  hspi1.Init.MasterInterDataIdleness = SPI_MASTER_INTERDATA_IDLENESS_00CYCLE;
  hspi1.Init.MasterReceiverAutoSusp = SPI_MASTER_RX_AUTOSUSP_DISABLE;
  hspi1.Init.MasterKeepIOState = SPI_MASTER_KEEP_IO_STATE_DISABLE;
  hspi1.Init.IOSwap = SPI_IO_SWAP_DISABLE;
  hspi1.Init.ReadyMasterManagement = SPI_RDY_MASTER_MANAGEMENT_INTERNALLY;
  hspi1.Init.ReadyPolarity = SPI_RDY_POLARITY_HIGH;
  if (HAL_SPI_Init(&hspi1) != HAL_OK)
  {
    Error_Handler();
  }
  HAL_SPI_AutonomousMode_Cfg_Struct.TriggerState = SPI_AUTO_MODE_DISABLE;
  HAL_SPI_AutonomousMode_Cfg_Struct.TriggerSelection = SPI_GRP1_GPDMA_CH0_TCF_TRG;
  HAL_SPI_AutonomousMode_Cfg_Struct.TriggerPolarity = SPI_TRIG_POLARITY_RISING;
  if (HAL_SPIEx_SetConfigAutonomousMode(&hspi1, &HAL_SPI_AutonomousMode_Cfg_Struct) != HAL_OK)
  {
    Error_Handler();
  }

}

static void MX_SPI2_Init(void)
{

  SPI_AutonomousModeConfTypeDef HAL_SPI_AutonomousMode_Cfg_Struct = {0};

  /* SPI2 parameter configuration*/
  hspi2.Instance = SPI2;
  hspi2.Init.Mode = SPI_MODE_MASTER;
  hspi2.Init.Direction = SPI_DIRECTION_2LINES;
  hspi2.Init.DataSize = SPI_DATASIZE_8BIT;
  hspi2.Init.CLKPolarity = SPI_POLARITY_LOW;
  hspi2.Init.CLKPhase = SPI_PHASE_1EDGE;
  hspi2.Init.NSS = SPI_NSS_SOFT;
  hspi2.Init.BaudRatePrescaler = SPI_BAUDRATEPRESCALER_32;
  hspi2.Init.FirstBit = SPI_FIRSTBIT_MSB;
  hspi2.Init.TIMode = SPI_TIMODE_DISABLE;
  hspi2.Init.CRCCalculation = SPI_CRCCALCULATION_DISABLE;
  hspi2.Init.CRCPolynomial = 0x7;
  hspi2.Init.NSSPMode = SPI_NSS_PULSE_ENABLE;
  hspi2.Init.NSSPolarity = SPI_NSS_POLARITY_LOW;
  hspi2.Init.FifoThreshold = SPI_FIFO_THRESHOLD_01DATA;
  hspi2.Init.MasterSSIdleness = SPI_MASTER_SS_IDLENESS_00CYCLE;
  hspi2.Init.MasterInterDataIdleness = SPI_MASTER_INTERDATA_IDLENESS_00CYCLE;
  hspi2.Init.MasterReceiverAutoSusp = SPI_MASTER_RX_AUTOSUSP_DISABLE;
  hspi2.Init.MasterKeepIOState = SPI_MASTER_KEEP_IO_STATE_DISABLE;
  hspi2.Init.IOSwap = SPI_IO_SWAP_DISABLE;
  hspi2.Init.ReadyMasterManagement = SPI_RDY_MASTER_MANAGEMENT_INTERNALLY;
  hspi2.Init.ReadyPolarity = SPI_RDY_POLARITY_HIGH;
  if (HAL_SPI_Init(&hspi2) != HAL_OK)
  {
    Error_Handler();
  }
  HAL_SPI_AutonomousMode_Cfg_Struct.TriggerState = SPI_AUTO_MODE_DISABLE;
  HAL_SPI_AutonomousMode_Cfg_Struct.TriggerSelection = SPI_GRP1_GPDMA_CH0_TCF_TRG;
  HAL_SPI_AutonomousMode_Cfg_Struct.TriggerPolarity = SPI_TRIG_POLARITY_RISING;
  if (HAL_SPIEx_SetConfigAutonomousMode(&hspi2, &HAL_SPI_AutonomousMode_Cfg_Struct) != HAL_OK)
  {
    Error_Handler();
  }

}

static void MX_TIM1_Init(void)
{

  TIM_MasterConfigTypeDef sMasterConfig = {0};
  TIM_OC_InitTypeDef sConfigOC = {0};
  TIM_BreakDeadTimeConfigTypeDef sBreakDeadTimeConfig = {0};

  htim1.Instance = TIM1;
  htim1.Init.Prescaler = 15;
  htim1.Init.CounterMode = TIM_COUNTERMODE_UP;
  htim1.Init.Period = 3701;
  htim1.Init.ClockDivision = TIM_CLOCKDIVISION_DIV1;
  htim1.Init.RepetitionCounter = 0;
  htim1.Init.AutoReloadPreload = TIM_AUTORELOAD_PRELOAD_DISABLE;
  if (HAL_TIM_PWM_Init(&htim1) != HAL_OK)
  {
    Error_Handler();
  }
  sMasterConfig.MasterOutputTrigger = TIM_TRGO_RESET;
  sMasterConfig.MasterOutputTrigger2 = TIM_TRGO2_RESET;
  sMasterConfig.MasterSlaveMode = TIM_MASTERSLAVEMODE_DISABLE;
  if (HAL_TIMEx_MasterConfigSynchronization(&htim1, &sMasterConfig) != HAL_OK)
  {
    Error_Handler();
  }
  sConfigOC.OCMode = TIM_OCMODE_PWM1;
  sConfigOC.Pulse = 1851;
  sConfigOC.OCPolarity = TIM_OCPOLARITY_HIGH;
  sConfigOC.OCNPolarity = TIM_OCNPOLARITY_HIGH;
  sConfigOC.OCFastMode = TIM_OCFAST_DISABLE;
  sConfigOC.OCIdleState = TIM_OCIDLESTATE_RESET;
  sConfigOC.OCNIdleState = TIM_OCNIDLESTATE_RESET;
  if (HAL_TIM_PWM_ConfigChannel(&htim1, &sConfigOC, TIM_CHANNEL_2) != HAL_OK)
  {
    Error_Handler();
  }
  sBreakDeadTimeConfig.OffStateRunMode = TIM_OSSR_DISABLE;
  sBreakDeadTimeConfig.OffStateIDLEMode = TIM_OSSI_DISABLE;
  sBreakDeadTimeConfig.LockLevel = TIM_LOCKLEVEL_OFF;
  sBreakDeadTimeConfig.DeadTime = 0;
  sBreakDeadTimeConfig.BreakState = TIM_BREAK_DISABLE;
  sBreakDeadTimeConfig.BreakPolarity = TIM_BREAKPOLARITY_HIGH;
  sBreakDeadTimeConfig.BreakFilter = 0;
  sBreakDeadTimeConfig.BreakAFMode = TIM_BREAK_AFMODE_INPUT;
  sBreakDeadTimeConfig.Break2State = TIM_BREAK2_DISABLE;
  sBreakDeadTimeConfig.Break2Polarity = TIM_BREAK2POLARITY_HIGH;
  sBreakDeadTimeConfig.Break2Filter = 0;
  sBreakDeadTimeConfig.Break2AFMode = TIM_BREAK_AFMODE_INPUT;
  sBreakDeadTimeConfig.AutomaticOutput = TIM_AUTOMATICOUTPUT_DISABLE;
  if (HAL_TIMEx_ConfigBreakDeadTime(&htim1, &sBreakDeadTimeConfig) != HAL_OK)
  {
    Error_Handler();
  }
  HAL_TIM_MspPostInit(&htim1);

}

static void MX_TIM2_Init(void)
{

  TIM_MasterConfigTypeDef sMasterConfig = {0};
  TIM_OC_InitTypeDef sConfigOC = {0};

  htim2.Instance = TIM2;
  htim2.Init.Prescaler = 159;
  htim2.Init.CounterMode = TIM_COUNTERMODE_UP;
  htim2.Init.Period = 999;
  htim2.Init.ClockDivision = TIM_CLOCKDIVISION_DIV1;
  htim2.Init.AutoReloadPreload = TIM_AUTORELOAD_PRELOAD_DISABLE;
  if (HAL_TIM_PWM_Init(&htim2) != HAL_OK)
  {
    Error_Handler();
  }
  sMasterConfig.MasterOutputTrigger = TIM_TRGO_RESET;
  sMasterConfig.MasterSlaveMode = TIM_MASTERSLAVEMODE_DISABLE;
  if (HAL_TIMEx_MasterConfigSynchronization(&htim2, &sMasterConfig) != HAL_OK)
  {
    Error_Handler();
  }
  sConfigOC.OCMode = TIM_OCMODE_PWM1;
  sConfigOC.Pulse = 500;
  sConfigOC.OCPolarity = TIM_OCPOLARITY_HIGH;
  sConfigOC.OCFastMode = TIM_OCFAST_DISABLE;
  if (HAL_TIM_PWM_ConfigChannel(&htim2, &sConfigOC, TIM_CHANNEL_4) != HAL_OK)
  {
    Error_Handler();
  }
  HAL_TIM_MspPostInit(&htim2);

}

static void MX_TIM6_Init(void)
{

  TIM_MasterConfigTypeDef sMasterConfig = {0};

  htim6.Instance = TIM6;
  htim6.Init.Prescaler = 16;
  htim6.Init.CounterMode = TIM_COUNTERMODE_UP;
  htim6.Init.Period = 9999;
  htim6.Init.AutoReloadPreload = TIM_AUTORELOAD_PRELOAD_DISABLE;
  if (HAL_TIM_Base_Init(&htim6) != HAL_OK)
  {
    Error_Handler();
  }
  sMasterConfig.MasterOutputTrigger = TIM_TRGO_RESET;
  sMasterConfig.MasterSlaveMode = TIM_MASTERSLAVEMODE_DISABLE;
  if (HAL_TIMEx_MasterConfigSynchronization(&htim6, &sMasterConfig) != HAL_OK)
  {
    Error_Handler();
  }

}

static void MX_TIM7_Init(void)
{

  TIM_MasterConfigTypeDef sMasterConfig = {0};

  htim7.Instance = TIM7;
  htim7.Init.Prescaler = 16000;
  htim7.Init.CounterMode = TIM_COUNTERMODE_UP;
  htim7.Init.Period = 9999;
  htim7.Init.AutoReloadPreload = TIM_AUTORELOAD_PRELOAD_DISABLE;
  if (HAL_TIM_Base_Init(&htim7) != HAL_OK)
  {
    Error_Handler();
  }
  sMasterConfig.MasterOutputTrigger = TIM_TRGO_RESET;
  sMasterConfig.MasterSlaveMode = TIM_MASTERSLAVEMODE_DISABLE;
  if (HAL_TIMEx_MasterConfigSynchronization(&htim7, &sMasterConfig) != HAL_OK)
  {
    Error_Handler();
  }

}

static void MX_USART1_UART_Init(void)
{

  huart1.Instance = USART1;
  huart1.Init.BaudRate = 115200;
  huart1.Init.WordLength = UART_WORDLENGTH_8B;
  huart1.Init.StopBits = UART_STOPBITS_1;
  huart1.Init.Parity = UART_PARITY_NONE;
  huart1.Init.Mode = UART_MODE_TX_RX;
  huart1.Init.HwFlowCtl = UART_HWCONTROL_RTS_CTS;
  huart1.Init.OverSampling = UART_OVERSAMPLING_16;
  huart1.Init.OneBitSampling = UART_ONE_BIT_SAMPLE_DISABLE;
  huart1.Init.ClockPrescaler = UART_PRESCALER_DIV1;
  huart1.AdvancedInit.AdvFeatureInit = UART_ADVFEATURE_NO_INIT;
  if (HAL_UART_Init(&huart1) != HAL_OK)
  {
    Error_Handler();
  }
  if (HAL_UARTEx_SetTxFifoThreshold(&huart1, UART_TXFIFO_THRESHOLD_1_8) != HAL_OK)
  {
    Error_Handler();
  }
  if (HAL_UARTEx_SetRxFifoThreshold(&huart1, UART_RXFIFO_THRESHOLD_1_8) != HAL_OK)
  {
    Error_Handler();
  }
  if (HAL_UARTEx_EnableFifoMode(&huart1) != HAL_OK)
  {
    Error_Handler();
  }

}

static void MX_USART3_UART_Init(void)
{

  huart3.Instance = USART3;
  huart3.Init.BaudRate = 115200;
  huart3.Init.WordLength = UART_WORDLENGTH_8B;
  huart3.Init.StopBits = UART_STOPBITS_1;
  huart3.Init.Parity = UART_PARITY_NONE;
  huart3.Init.Mode = UART_MODE_TX_RX;
  huart3.Init.HwFlowCtl = UART_HWCONTROL_NONE;
  huart3.Init.OverSampling = UART_OVERSAMPLING_16;
  huart3.Init.OneBitSampling = UART_ONE_BIT_SAMPLE_DISABLE;
  huart3.Init.ClockPrescaler = UART_PRESCALER_DIV1;
  huart3.AdvancedInit.AdvFeatureInit = UART_ADVFEATURE_NO_INIT;
  if (HAL_UART_Init(&huart3) != HAL_OK)
  {
    Error_Handler();
  }
  if (HAL_UARTEx_SetTxFifoThreshold(&huart3, UART_TXFIFO_THRESHOLD_1_8) != HAL_OK)
  {
    Error_Handler();
  }
  if (HAL_UARTEx_SetRxFifoThreshold(&huart3, UART_RXFIFO_THRESHOLD_1_8) != HAL_OK)
  {
    Error_Handler();
  }
  if (HAL_UARTEx_EnableFifoMode(&huart3) != HAL_OK)
  {
    Error_Handler();
  }

}

static void MX_USART6_UART_Init(void)
{

  huart6.Instance = USART6;
  huart6.Init.BaudRate = 115200;
  huart6.Init.WordLength = UART_WORDLENGTH_8B;
  huart6.Init.StopBits = UART_STOPBITS_1;
  huart6.Init.Parity = UART_PARITY_NONE;
  huart6.Init.Mode = UART_MODE_TX_RX;
  huart6.Init.HwFlowCtl = UART_HWCONTROL_CTS;
  huart6.Init.OverSampling = UART_OVERSAMPLING_16;
  huart6.Init.OneBitSampling = UART_ONE_BIT_SAMPLE_DISABLE;
  huart6.Init.ClockPrescaler = UART_PRESCALER_DIV1;
  huart6.AdvancedInit.AdvFeatureInit = UART_ADVFEATURE_NO_INIT;
  if (HAL_UART_Init(&huart6) != HAL_OK)
  {
    Error_Handler();
  }
  if (HAL_UARTEx_SetTxFifoThreshold(&huart6, UART_TXFIFO_THRESHOLD_1_8) != HAL_OK)
  {
    Error_Handler();
  }
  if (HAL_UARTEx_SetRxFifoThreshold(&huart6, UART_RXFIFO_THRESHOLD_1_8) != HAL_OK)
  {
    Error_Handler();
  }
  if (HAL_UARTEx_EnableFifoMode(&huart6) != HAL_OK)
  {
    Error_Handler();
  }

}

void MX_USB_OTG_HS_PCD_Init(void)
{

  hpcd_USB_OTG_HS.Instance = USB_OTG_HS;
  hpcd_USB_OTG_HS.Init.dev_endpoints = 9;
  hpcd_USB_OTG_HS.Init.speed = PCD_SPEED_HIGH;
  hpcd_USB_OTG_HS.Init.phy_itface = USB_OTG_HS_EMBEDDED_PHY;
  hpcd_USB_OTG_HS.Init.Sof_enable = DISABLE;
  hpcd_USB_OTG_HS.Init.low_power_enable = DISABLE;
  hpcd_USB_OTG_HS.Init.lpm_enable = DISABLE;
  hpcd_USB_OTG_HS.Init.use_dedicated_ep1 = DISABLE;
  hpcd_USB_OTG_HS.Init.vbus_sensing_enable = DISABLE;
  hpcd_USB_OTG_HS.Init.dma_enable = DISABLE;
  if (HAL_PCD_Init(&hpcd_USB_OTG_HS) != HAL_OK)
  {
    Error_Handler();
  }

}

static void MX_GPIO_Init(void)
{
  GPIO_InitTypeDef GPIO_InitStruct = {0};

  /* GPIO Ports Clock Enable */
  __HAL_RCC_GPIOC_CLK_ENABLE();
  __HAL_RCC_GPIOH_CLK_ENABLE();
  __HAL_RCC_GPIOA_CLK_ENABLE();
  __HAL_RCC_GPIOB_CLK_ENABLE();
  __HAL_RCC_GPIOE_CLK_ENABLE();
  __HAL_RCC_GPIOD_CLK_ENABLE();

  /*Configure GPIO pin Output Level */
  HAL_GPIO_WritePin(USB_Switch_GPIO_Port, USB_Switch_Pin, GPIO_PIN_RESET);

  /*Configure GPIO pin Output Level */
  HAL_GPIO_WritePin(TER_Switch_GPIO_Port, TER_Switch_Pin, GPIO_PIN_SET);
  HAL_GPIO_WritePin(TER_Switch_GPIO_Port, TER_Switch_Pin, GPIO_PIN_RESET);

  /*Configure GPIO pin Output Level */
  HAL_GPIO_WritePin(GPIOB, LED1_Pin|Vacuum_SPI_CS_Pin|WIFI_WKP_Pin, GPIO_PIN_RESET);

  /*Configure GPIO pin Output Level */
  HAL_GPIO_WritePin(LED_GPIO_Port, LED_Pin, GPIO_PIN_RESET);

  /*Configure GPIO pin Output Level */
  HAL_GPIO_WritePin(GPIOE, REMOT_ALM_Pin|RTD1_SPI_CS_Pin|RTD2_SPI_CS_Pin, GPIO_PIN_SET);

  /*Configure GPIO pin Output Level */
  HAL_GPIO_WritePin(GPIOD, RS485_DE_Pin|WIFI_RST_Pin, GPIO_PIN_RESET);

  /*Configure GPIO pin Output Level */
  HAL_GPIO_WritePin(USB_en_GPIO_Port, USB_en_Pin, GPIO_PIN_RESET);

  /*Configure GPIO pin : USB_Switch_Pin */
  GPIO_InitStruct.Pin = USB_Switch_Pin;
  GPIO_InitStruct.Mode = GPIO_MODE_OUTPUT_PP;
  GPIO_InitStruct.Pull = GPIO_PULLDOWN;
  GPIO_InitStruct.Speed = GPIO_SPEED_FREQ_LOW;
  HAL_GPIO_Init(USB_Switch_GPIO_Port, &GPIO_InitStruct);

  /*Configure GPIO pin : TER_Switch_Pin */
  GPIO_InitStruct.Pin = TER_Switch_Pin;
  GPIO_InitStruct.Mode = GPIO_MODE_OUTPUT_PP;
  GPIO_InitStruct.Pull = GPIO_PULLUP;
  GPIO_InitStruct.Speed = GPIO_SPEED_FREQ_VERY_HIGH;
  HAL_GPIO_Init(TER_Switch_GPIO_Port, &GPIO_InitStruct);

  /*Configure GPIO pin : LED1_Pin */
  GPIO_InitStruct.Pin = LED1_Pin;
  GPIO_InitStruct.Mode = GPIO_MODE_OUTPUT_PP;
  GPIO_InitStruct.Pull = GPIO_PULLDOWN;
  GPIO_InitStruct.Speed = GPIO_SPEED_FREQ_LOW;
  HAL_GPIO_Init(LED1_GPIO_Port, &GPIO_InitStruct);

  /*Configure GPIO pin : Mains_mon_Pin */
  GPIO_InitStruct.Pin = Mains_mon_Pin;
  GPIO_InitStruct.Mode = GPIO_MODE_IT_RISING_FALLING;
  GPIO_InitStruct.Pull = GPIO_PULLDOWN;
  HAL_GPIO_Init(Mains_mon_GPIO_Port, &GPIO_InitStruct);

  /*Configure GPIO pin : LED_Pin */
  GPIO_InitStruct.Pin = LED_Pin;
  GPIO_InitStruct.Mode = GPIO_MODE_OUTPUT_PP;
  GPIO_InitStruct.Pull = GPIO_PULLDOWN;
  GPIO_InitStruct.Speed = GPIO_SPEED_FREQ_LOW;
  HAL_GPIO_Init(LED_GPIO_Port, &GPIO_InitStruct);

  /*Configure GPIO pin : REMOT_ALM_Pin */
  GPIO_InitStruct.Pin = REMOT_ALM_Pin;
  GPIO_InitStruct.Mode = GPIO_MODE_OUTPUT_PP;
  GPIO_InitStruct.Pull = GPIO_PULLUP;
  GPIO_InitStruct.Speed = GPIO_SPEED_FREQ_VERY_HIGH;
  HAL_GPIO_Init(REMOT_ALM_GPIO_Port, &GPIO_InitStruct);

  /*Configure GPIO pin : LID_SENSOR_Pin */
  GPIO_InitStruct.Pin = LID_SENSOR_Pin;
  GPIO_InitStruct.Mode = GPIO_MODE_INPUT;
  GPIO_InitStruct.Pull = GPIO_NOPULL;
  HAL_GPIO_Init(LID_SENSOR_GPIO_Port, &GPIO_InitStruct);

  /*Configure GPIO pins : RTD1_SPI_CS_Pin RTD2_SPI_CS_Pin */
  GPIO_InitStruct.Pin = RTD1_SPI_CS_Pin|RTD2_SPI_CS_Pin;
  GPIO_InitStruct.Mode = GPIO_MODE_OUTPUT_PP;
  GPIO_InitStruct.Pull = GPIO_PULLUP;
  GPIO_InitStruct.Speed = GPIO_SPEED_FREQ_HIGH;
  HAL_GPIO_Init(GPIOE, &GPIO_InitStruct);

  /*Configure GPIO pin : Vacuum_SPI_CS_Pin */
  GPIO_InitStruct.Pin = Vacuum_SPI_CS_Pin;
  GPIO_InitStruct.Mode = GPIO_MODE_OUTPUT_PP;
  GPIO_InitStruct.Pull = GPIO_PULLUP;
  GPIO_InitStruct.Speed = GPIO_SPEED_FREQ_HIGH;
  HAL_GPIO_Init(Vacuum_SPI_CS_GPIO_Port, &GPIO_InitStruct);

  /*Configure GPIO pins : RS485_DE_Pin WIFI_RST_Pin */
  GPIO_InitStruct.Pin = RS485_DE_Pin|WIFI_RST_Pin;
  GPIO_InitStruct.Mode = GPIO_MODE_OUTPUT_PP;
  GPIO_InitStruct.Pull = GPIO_NOPULL;
  GPIO_InitStruct.Speed = GPIO_SPEED_FREQ_LOW;
  HAL_GPIO_Init(GPIOD, &GPIO_InitStruct);

  /*Configure GPIO pins : USB_fault_Pin USB_detect_Pin */
  GPIO_InitStruct.Pin = USB_fault_Pin|USB_detect_Pin;
  GPIO_InitStruct.Mode = GPIO_MODE_INPUT;
  GPIO_InitStruct.Pull = GPIO_NOPULL;
  HAL_GPIO_Init(GPIOA, &GPIO_InitStruct);

  /*Configure GPIO pin : USB_en_Pin */
  GPIO_InitStruct.Pin = USB_en_Pin;
  GPIO_InitStruct.Mode = GPIO_MODE_OUTPUT_PP;
  GPIO_InitStruct.Pull = GPIO_PULLDOWN;
  GPIO_InitStruct.Speed = GPIO_SPEED_FREQ_LOW;
  HAL_GPIO_Init(USB_en_GPIO_Port, &GPIO_InitStruct);

  /*Configure GPIO pin : WIFI_WHP_Pin */
  GPIO_InitStruct.Pin = WIFI_WHP_Pin;
  GPIO_InitStruct.Mode = GPIO_MODE_INPUT;
  GPIO_InitStruct.Pull = GPIO_NOPULL;
  HAL_GPIO_Init(WIFI_WHP_GPIO_Port, &GPIO_InitStruct);

  /*Configure GPIO pin : WIFI_WKP_Pin */
  GPIO_InitStruct.Pin = WIFI_WKP_Pin;
  GPIO_InitStruct.Mode = GPIO_MODE_OUTPUT_PP;
  GPIO_InitStruct.Pull = GPIO_NOPULL;
  GPIO_InitStruct.Speed = GPIO_SPEED_FREQ_LOW;
  HAL_GPIO_Init(WIFI_WKP_GPIO_Port, &GPIO_InitStruct);

  /* EXTI interrupt init*/
  HAL_NVIC_SetPriority(EXTI1_IRQn, 0, 0);
  HAL_NVIC_EnableIRQ(EXTI1_IRQn);

}

/* USER CODE BEGIN 4 */
void MX_USB_OTG_HS_HCD_Init(void)
{

  /* USER CODE BEGIN USB_OTG_HS_Init 0 */

  /* USER CODE END USB_OTG_HS_Init 0 */

  /* USER CODE BEGIN USB_OTG_HS_Init 1 */

  /* USER CODE END USB_OTG_HS_Init 1 */
  hhcd_USB_OTG_HS.Instance = USB_OTG_HS;
  hhcd_USB_OTG_HS.Init.Host_channels = 16;
  hhcd_USB_OTG_HS.Init.speed = HCD_SPEED_HIGH;
  hhcd_USB_OTG_HS.Init.dma_enable = DISABLE;
  hhcd_USB_OTG_HS.Init.phy_itface = USB_OTG_HS_EMBEDDED_PHY;
  hhcd_USB_OTG_HS.Init.Sof_enable = DISABLE;
  hhcd_USB_OTG_HS.Init.low_power_enable = DISABLE;
  hhcd_USB_OTG_HS.Init.use_external_vbus = ENABLE;
  if (HAL_HCD_Init(&hhcd_USB_OTG_HS) != HAL_OK)
  {
    Error_Handler();
  }
  /* USER CODE BEGIN USB_OTG_HS_Init 2 */

  /* USER CODE END USB_OTG_HS_Init 2 */

}
/* USER CODE END 4 */

void HAL_TIM_PeriodElapsedCallback(TIM_HandleTypeDef *htim)
{
  if (htim->Instance == TIM5)
  {
    HAL_IncTick();
  }
}

void Error_Handler(void)
{
  __disable_irq();
  while (1)
  {
  }
}
